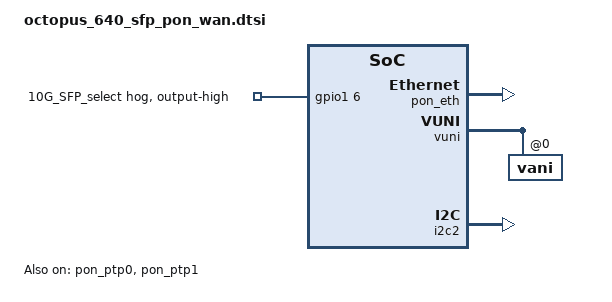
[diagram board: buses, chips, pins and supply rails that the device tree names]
// SPDX-License-Identifier: GPL-2.0
/*
 * Copyright (C) 2021-2024 MaxLinear, Inc.
 */

/* Select 10G PHY WAN */
&gpio1 {
	10GSFP_gpio38 {
		gpio-hog;
		gpios = <6 GPIO_ACTIVE_HIGH>;
		output-high;
		line-name = "10G_SFP_select";
	};
};

/ {
	wan {
		ifname = "VANI0";
	};
};

&pon_eth {
	status = "okay";
	intel,altname = "sfp0";
};

&pon_ptp0 {
	status = "okay";
};

&pon_ptp1 {
	status = "okay";
};

&lpid_config {
	mxl,lpid-epg-map = <2 75 0 0>,
				<3 35 2 8>,
				<5 51 1 8>,
				<4 36 2 9>,
				<6 37 2 10>,
				<7 52 1 9>,
				<8 53 1 10>,
				<9 38 2 11>,
				<10 54 1 11>;
};

&ponmbox {
	status = "okay";
	/* Reference to SFP cage for WAN */
	sfp = <&sfp_wan0>;
};

&vuni {
	status = "okay";
	vani@0 {
		mxl,extra-subif = "VANI0", "VUNI0_0", "VUNI0_1", "VUNI0_2";
		mxl,extra-subif-type = <SUBIF_VANI0_0 SUBIF_VUNI0_0 SUBIF_VUNI0_1 SUBIF_VUNI0_2>;
		mxl,extra-subif-domain = <VUNI_BR_DOMAIN_NO VUNI_BR_DOMAIN_UC VUNI_BR_DOMAIN_MC VUNI_BR_DOMAIN_BC>;
		mxl,num_ip_host = <2>;
	};
};

&i2c2 {
	status = "okay";
};

&gsw_mac0 {
	/* allow small packets for extended OMCI messaging */
	err-pkt-fwd-undersized;
	// err-pkt-fwd-errored;
};

#define CQM_SSB_SIZE (0x2eb00)
#define TOE_SSB_SIZE (0x80000 - CQM_SSB_SIZE)
&reserved_mem {
	toe_ssb_memaxi: memaxi {
		reg = <(0xbff00000 + CQM_SSB_SIZE) TOE_SSB_SIZE>;
	};
};

&toe {
	mxl,sram-gb = <7>;
	memory-region = <&toe_ssb_memaxi>;
	mxl,oc-mode = <0>;
};

&cqm_sram {
	reg = <0x0 CQM_SSB_SIZE>;
};

&toe_sram {
	reg = <CQM_SSB_SIZE TOE_SSB_SIZE>;
};
